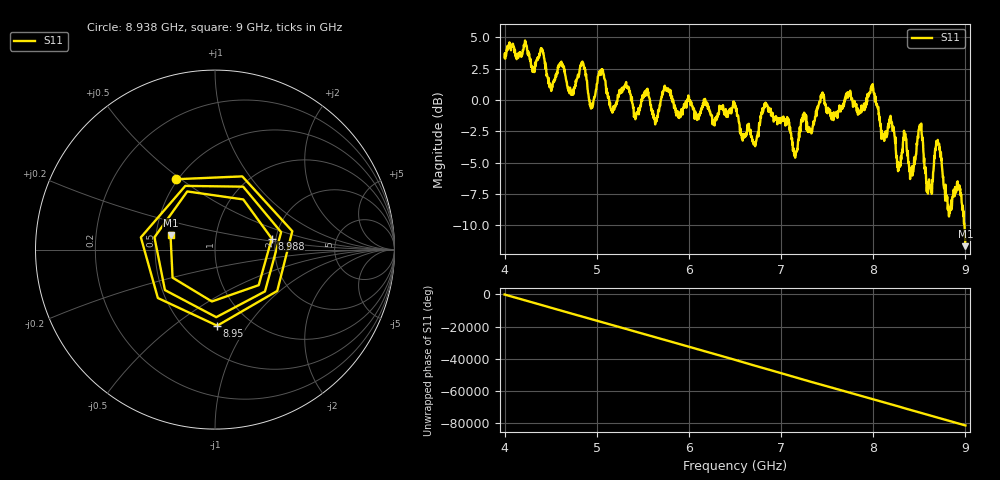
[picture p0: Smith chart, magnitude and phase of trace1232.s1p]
! Created with skrf 1.8.0 (http://scikit-rf.org).
# Hz S RI R 50.0
!freq ReS11 ImS11
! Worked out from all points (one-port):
!   1601 points, 4 GHz to 9 GHz, reference 50 ohm
!   lowest |S11| = -11.7 dB at 9 GHz (marker M1), VSWR 1.71, Z = 29.8 + j5.19 ohm
!   |S11| at or under -10 dB: 8.990145 GHz to end of sweep
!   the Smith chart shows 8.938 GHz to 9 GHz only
!   S11 on the Smith chart (normalised r, x): 8.938 GHz: 0.49, +0.48; 8.95 GHz: 0.71, -0.73; 8.988 GHz: 1.90, +0.26; 9 GHz: 0.60, +0.10
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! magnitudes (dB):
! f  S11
! 4 GHz  3.4
! 4.506 GHz  0.7
! 4.625 GHz  2.8
! 4.725 GHz  0.4
! 4.85 GHz  2.9
! 4.941 GHz  -0.5
! 5.044 GHz  2.0
! 5.162 GHz  -0.8
! 5.25 GHz  0.8
! 5.875 GHz  -1.0
! 6.5 GHz  -0.4
! 6.588 GHz  -2.7
! 6.834 GHz  -0.3
! 7.125 GHz  -3.4
! 7.441 GHz  0.5
! 7.75 GHz  0.7
! 7.991 GHz  0.9
! 8.272 GHz  -5.5
! 8.375 GHz  -4.1
! 8.425 GHz  -6.0
! 8.509 GHz  -2.2
! 8.603 GHz  -6.8
! 8.697 GHz  -3.3
! 8.822 GHz  -9.3
! 8.938 GHz  -7.0
! 8.95 GHz  -7.4
! 8.988 GHz  -9.8
! 9 GHz  -11.7
